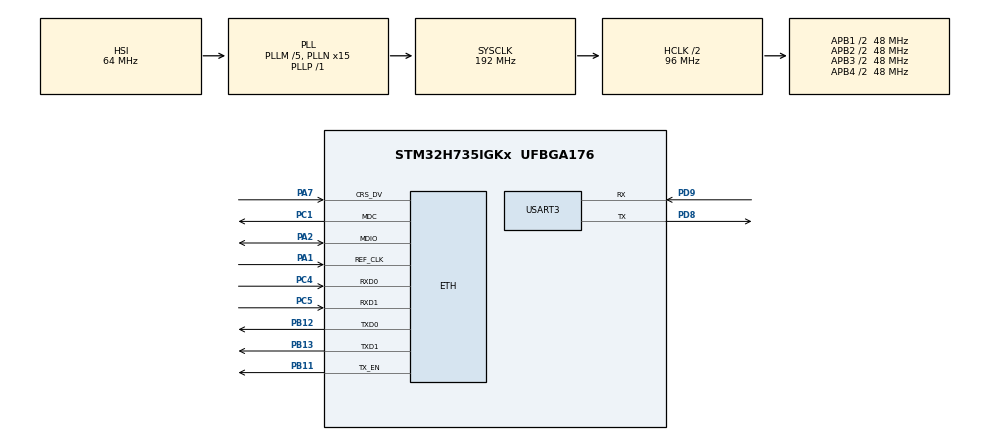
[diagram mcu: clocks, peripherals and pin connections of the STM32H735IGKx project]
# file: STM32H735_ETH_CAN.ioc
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ETH.MACAddr=00\:80\:E1\:00\:00\:11
ETH.MediaInterface=HAL_ETH_RMII_MODE
Mcu.Family=STM32H7
Mcu.Name=STM32H735IGKx
Mcu.Package=UFBGA176
NVIC.ETH_IRQn=true\:0\:0\:false\:false\:true\:true\:true\:true
NVIC.PriorityGroup=NVIC_PRIORITYGROUP_4
PA1.Mode=RMII
PA1.Signal=ETH_REF_CLK
PA2.Mode=RMII
PA2.Signal=ETH_MDIO
PA7.Mode=RMII
PA7.Signal=ETH_CRS_DV
PB10.Signal=ETH_RX_ER
PB11.Mode=RMII
PB11.Signal=ETH_TX_EN
PB12.Mode=RMII
PB12.Signal=ETH_TXD0
PB13.Mode=RMII
PB13.Signal=ETH_TXD1
PC1.Mode=RMII
PC1.Signal=ETH_MDC
PC4.Mode=RMII
PC4.Signal=ETH_RXD0
PC5.Mode=RMII
PC5.Signal=ETH_RXD1
PD8.Mode=Asynchronous
PD8.Signal=USART3_TX
PD9.Mode=Asynchronous
PD9.Signal=USART3_RX
ProjectManager.HeapSize=0x200
ProjectManager.StackSize=0x400
ProjectManager.TargetToolchain=STM32CubeIDE
RCC.ADCFreq_Value=204800000
RCC.APB1Freq_Value=48000000
RCC.APB2Freq_Value=48000000
RCC.APB3Freq_Value=48000000
RCC.APB4Freq_Value=48000000
RCC.CortexFreq_Value=192000000
RCC.D1PPRE=RCC_APB3_DIV2
RCC.D2PPRE1=RCC_APB1_DIV2
RCC.D2PPRE2=RCC_APB2_DIV2
RCC.D3PPRE=RCC_APB4_DIV2
RCC.DIVM1=5
RCC.DIVM2=5
RCC.DIVN1=15
RCC.DIVN2=80
RCC.DIVP1=1
RCC.DIVP2=5
RCC.DIVQ1=4
RCC.HCLKFreq_Value=96000000
RCC.HPRE=RCC_HCLK_DIV2
RCC.PLL2FRACN=0
RCC.PLL3FRACN=0
RCC.PLLFRACN=0
RCC.SYSCLKFreq_VALUE=192000000
RCC.SYSCLKSource=RCC_SYSCLKSOURCE_PLLCLK
RCC.USBCLockSelection=RCC_USBCLKSOURCE_HSI48
RCC.USBFreq_Value=48000000
USART3.VirtualMode-Asynchronous=VM_ASYNC
VP_MEMORYMAP_VS_MEMORYMAP.Mode=CurAppReg
VP_RNG_VS_RNG.Mode=RNG_Activate
board=STM32H735G-DK

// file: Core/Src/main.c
/* USER CODE BEGIN Header */
/**
  ******************************************************************************
  * @file           : main.c
  * @brief          : Main program body
  ******************************************************************************
  * @attention
  *
  * Copyright (c) 2026 STMicroelectronics.
  * All rights reserved.
  *
  * This software is licensed under terms that can be found in the LICENSE file
  * in the root directory of this software component.
  * If no LICENSE file comes with this software, it is provided AS-IS.
  *
  ******************************************************************************
  */
/* USER CODE END Header */
#include "main.h"
#include "string.h"

/* USER CODE BEGIN Includes */
#include <stdio.h>
#include "mongoose.h"
#include <stdbool.h>
/* USER CODE END Includes */

#if defined ( __ICCARM__ ) /*!< IAR Compiler */
#pragma location=0x30000000
ETH_DMADescTypeDef  DMARxDscrTab[ETH_RX_DESC_CNT]; /* Ethernet Rx DMA Descriptors */
#pragma location=0x30000080
ETH_DMADescTypeDef  DMATxDscrTab[ETH_TX_DESC_CNT]; /* Ethernet Tx DMA Descriptors */

#elif defined ( __CC_ARM )  /* MDK ARM Compiler */

__attribute__((at(0x30000000))) ETH_DMADescTypeDef  DMARxDscrTab[ETH_RX_DESC_CNT]; /* Ethernet Rx DMA Descriptors */
__attribute__((at(0x30000080))) ETH_DMADescTypeDef  DMATxDscrTab[ETH_TX_DESC_CNT]; /* Ethernet Tx DMA Descriptors */

#elif defined ( __GNUC__ ) /* GNU Compiler */

ETH_DMADescTypeDef DMARxDscrTab[ETH_RX_DESC_CNT] __attribute__((section(".RxDescripSection"))); /* Ethernet Rx DMA Descriptors */
ETH_DMADescTypeDef DMATxDscrTab[ETH_TX_DESC_CNT] __attribute__((section(".TxDescripSection")));   /* Ethernet Tx DMA Descriptors */
#endif

ETH_TxPacketConfig TxConfig;

ETH_HandleTypeDef heth;

RNG_HandleTypeDef hrng;

UART_HandleTypeDef huart3;

void SystemClock_Config(void);
static void MX_GPIO_Init(void);
static void MX_ETH_Init(void);
static void MX_RNG_Init(void);
static void MX_USART3_UART_Init(void);

/* USER CODE BEGIN 0 */

static struct mg_tcpip_if s_ifp;

int _write(int fd, unsigned char *buf, int len) {
  if (fd == 1 || fd == 2) {
    HAL_UART_Transmit(&huart3, buf, len, 999);
  }
  return len;
}

uint64_t mg_millis(void) {
  return HAL_GetTick();
}

bool mg_random(void *buf, size_t len) {
  for (size_t n = 0; n < len; n += sizeof(uint32_t)) {
    uint32_t r;
    HAL_RNG_GenerateRandomNumber(&hrng, &r);
    memcpy((char *) buf + n, &r, n + sizeof(r) > len ? len - n : sizeof(r));
  }
  return true;
}

static void ev_handler(struct mg_connection *c, int ev, void *ev_data) {
  if (ev == MG_EV_ACCEPT) {
    MG_INFO(("Client connected: %M", mg_print_ip_port, &c->rem));
  } else if (ev == MG_EV_CLOSE) {
    MG_INFO(("Client disconnected"));
  } else if (ev == MG_EV_ERROR) {
    MG_ERROR(("Error: %s", (char *) ev_data));
  }
}

static void run_mongoose(void) {
  struct mg_mgr mgr;
  mg_mgr_init(&mgr);
  mg_log_set(MG_LL_DEBUG);

  struct mg_tcpip_driver_stm32h_data driver_data = {.mdc_cr = 4};
  memset(&s_ifp, 0, sizeof(s_ifp));
  s_ifp.mac[0] = 0x02; s_ifp.mac[1] = 0x00; s_ifp.mac[2] = 0x01;
  s_ifp.mac[3] = 0x02; s_ifp.mac[4] = 0x03; s_ifp.mac[5] = 0x06;
  s_ifp.ip   = mg_htonl(MG_U32(192, 168, 0, 11));
  s_ifp.mask = mg_htonl(MG_U32(255, 255, 255, 0));
  s_ifp.gw   = mg_htonl(MG_U32(192, 168, 0, 1));
  s_ifp.driver = &mg_tcpip_driver_stm32h;
  s_ifp.driver_data = &driver_data;

  mg_tcpip_init(&mgr, &s_ifp);

  MG_INFO(("Waiting for network link..."));
  while (s_ifp.state != MG_TCPIP_STATE_READY) {
    mg_mgr_poll(&mgr, 0);
  }
  MG_INFO(("Network Ready! IP: %M", mg_print_ip4, &s_ifp.ip));

  mg_listen(&mgr, "tcp://0.0.0.0:1234", ev_handler, NULL);
  MG_INFO(("Listening on port 1234..."));

  for (;;) {
    mg_mgr_poll(&mgr, 0);
  }
}

/* USER CODE END 0 */

int main(void)
{

  /* MCU Configuration--------------------------------------------------------*/

  /* Reset of all peripherals, Initializes the Flash interface and the Systick. */
  HAL_Init();

  /* Configure the system clock */
  SystemClock_Config();

  /* Initialize all configured peripherals */
  MX_GPIO_Init();
  MX_ETH_Init();
  MX_RNG_Init();
  MX_USART3_UART_Init();
  /* USER CODE BEGIN 2 */
  run_mongoose();
  /* USER CODE END 2 */

  /* Infinite loop */
  while (1)
  {

    /* USER CODE BEGIN 3 */
	  printf("Tick: %lu\r\n", HAL_GetTick());
	  HAL_Delay(500);
  }
  /* USER CODE END 3 */
}

void SystemClock_Config(void)
{
  RCC_OscInitTypeDef RCC_OscInitStruct = {0};
  RCC_ClkInitTypeDef RCC_ClkInitStruct = {0};

  /** Supply configuration update enable
  */
  HAL_PWREx_ConfigSupply(PWR_DIRECT_SMPS_SUPPLY);

  /** Configure the main internal regulator output voltage
  */
  __HAL_PWR_VOLTAGESCALING_CONFIG(PWR_REGULATOR_VOLTAGE_SCALE2);

  while(!__HAL_PWR_GET_FLAG(PWR_FLAG_VOSRDY)) {}

  /** Initializes the RCC Oscillators according to the specified parameters
  * in the RCC_OscInitTypeDef structure.
  */
  RCC_OscInitStruct.OscillatorType = RCC_OSCILLATORTYPE_HSI48|RCC_OSCILLATORTYPE_HSI;
  RCC_OscInitStruct.HSIState = RCC_HSI_DIV1;
  RCC_OscInitStruct.HSICalibrationValue = 64;
  RCC_OscInitStruct.HSI48State = RCC_HSI48_ON;
  RCC_OscInitStruct.PLL.PLLState = RCC_PLL_ON;
  RCC_OscInitStruct.PLL.PLLSource = RCC_PLLSOURCE_HSI;
  RCC_OscInitStruct.PLL.PLLM = 5;
  RCC_OscInitStruct.PLL.PLLN = 15;
  RCC_OscInitStruct.PLL.PLLP = 1;
  RCC_OscInitStruct.PLL.PLLQ = 4;
  RCC_OscInitStruct.PLL.PLLR = 2;
  RCC_OscInitStruct.PLL.PLLRGE = RCC_PLL1VCIRANGE_3;
  RCC_OscInitStruct.PLL.PLLVCOSEL = RCC_PLL1VCOWIDE;
  RCC_OscInitStruct.PLL.PLLFRACN = 0;
  if (HAL_RCC_OscConfig(&RCC_OscInitStruct) != HAL_OK)
  {
    Error_Handler();
  }

  /** Initializes the CPU, AHB and APB buses clocks
  */
  RCC_ClkInitStruct.ClockType = RCC_CLOCKTYPE_HCLK|RCC_CLOCKTYPE_SYSCLK
                              |RCC_CLOCKTYPE_PCLK1|RCC_CLOCKTYPE_PCLK2
                              |RCC_CLOCKTYPE_D3PCLK1|RCC_CLOCKTYPE_D1PCLK1;
  RCC_ClkInitStruct.SYSCLKSource = RCC_SYSCLKSOURCE_PLLCLK;
  RCC_ClkInitStruct.SYSCLKDivider = RCC_SYSCLK_DIV1;
  RCC_ClkInitStruct.AHBCLKDivider = RCC_HCLK_DIV2;
  RCC_ClkInitStruct.APB3CLKDivider = RCC_APB3_DIV2;
  RCC_ClkInitStruct.APB1CLKDivider = RCC_APB1_DIV2;
  RCC_ClkInitStruct.APB2CLKDivider = RCC_APB2_DIV2;
  RCC_ClkInitStruct.APB4CLKDivider = RCC_APB4_DIV2;

  if (HAL_RCC_ClockConfig(&RCC_ClkInitStruct, FLASH_LATENCY_1) != HAL_OK)
  {
    Error_Handler();
  }
}

static void MX_ETH_Init(void)
{

   static uint8_t MACAddr[6];

  heth.Instance = ETH;
  MACAddr[0] = 0x00;
  MACAddr[1] = 0x80;
  MACAddr[2] = 0xE1;
  MACAddr[3] = 0x00;
  MACAddr[4] = 0x00;
  MACAddr[5] = 0x11;
  heth.Init.MACAddr = &MACAddr[0];
  heth.Init.MediaInterface = HAL_ETH_RMII_MODE;
  heth.Init.TxDesc = DMATxDscrTab;
  heth.Init.RxDesc = DMARxDscrTab;
  heth.Init.RxBuffLen = 1536;

  if (HAL_ETH_Init(&heth) != HAL_OK)
  {
    Error_Handler();
  }

  memset(&TxConfig, 0 , sizeof(ETH_TxPacketConfig));
  TxConfig.Attributes = ETH_TX_PACKETS_FEATURES_CSUM | ETH_TX_PACKETS_FEATURES_CRCPAD;
  TxConfig.ChecksumCtrl = ETH_CHECKSUM_IPHDR_PAYLOAD_INSERT_PHDR_CALC;
  TxConfig.CRCPadCtrl = ETH_CRC_PAD_INSERT;

}

static void MX_RNG_Init(void)
{

  hrng.Instance = RNG;
  hrng.Init.ClockErrorDetection = RNG_CED_ENABLE;
  if (HAL_RNG_Init(&hrng) != HAL_OK)
  {
    Error_Handler();
  }

}

static void MX_USART3_UART_Init(void)
{

  huart3.Instance = USART3;
  huart3.Init.BaudRate = 115200;
  huart3.Init.WordLength = UART_WORDLENGTH_8B;
  huart3.Init.StopBits = UART_STOPBITS_1;
  huart3.Init.Parity = UART_PARITY_NONE;
  huart3.Init.Mode = UART_MODE_TX_RX;
  huart3.Init.HwFlowCtl = UART_HWCONTROL_NONE;
  huart3.Init.OverSampling = UART_OVERSAMPLING_16;
  huart3.Init.OneBitSampling = UART_ONE_BIT_SAMPLE_DISABLE;
  huart3.Init.ClockPrescaler = UART_PRESCALER_DIV1;
  huart3.AdvancedInit.AdvFeatureInit = UART_ADVFEATURE_NO_INIT;
  if (HAL_UART_Init(&huart3) != HAL_OK)
  {
    Error_Handler();
  }
  if (HAL_UARTEx_SetTxFifoThreshold(&huart3, UART_TXFIFO_THRESHOLD_1_8) != HAL_OK)
  {
    Error_Handler();
  }
  if (HAL_UARTEx_SetRxFifoThreshold(&huart3, UART_RXFIFO_THRESHOLD_1_8) != HAL_OK)
  {
    Error_Handler();
  }
  if (HAL_UARTEx_DisableFifoMode(&huart3) != HAL_OK)
  {
    Error_Handler();
  }

}

static void MX_GPIO_Init(void)
{

  /* GPIO Ports Clock Enable */
  __HAL_RCC_GPIOD_CLK_ENABLE();
  __HAL_RCC_GPIOC_CLK_ENABLE();
  __HAL_RCC_GPIOB_CLK_ENABLE();
  __HAL_RCC_GPIOA_CLK_ENABLE();

}

void Error_Handler(void)
{
  __disable_irq();
  while (1)
  {
  }
}
